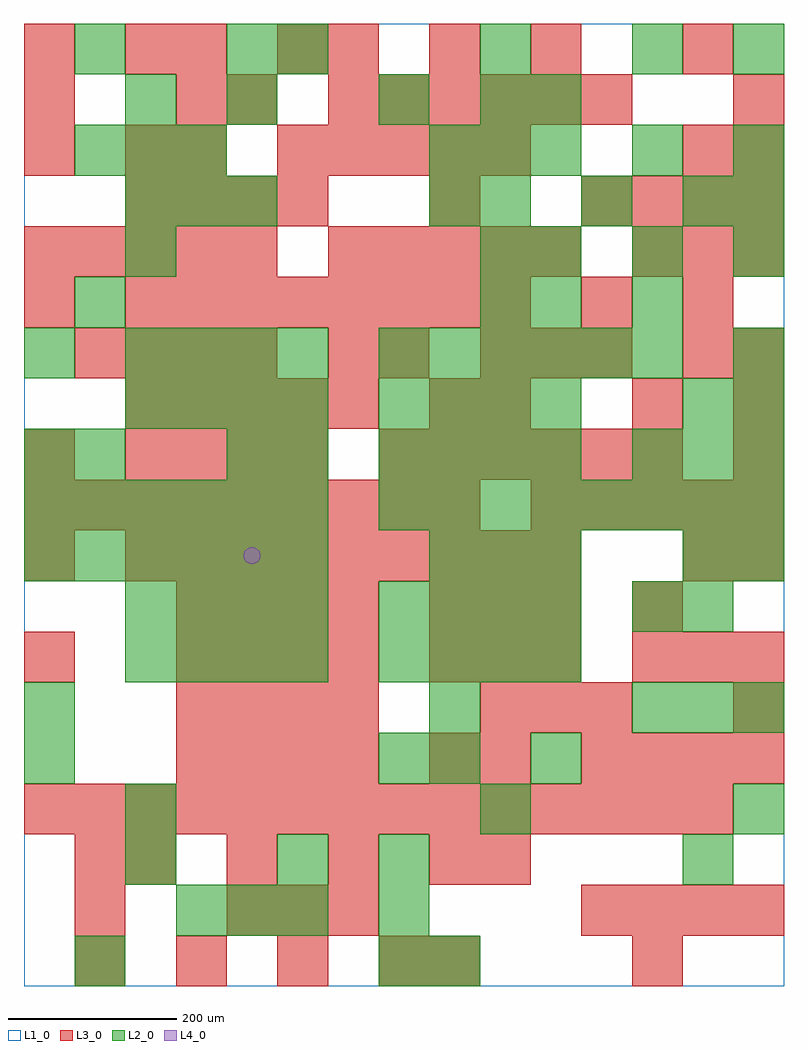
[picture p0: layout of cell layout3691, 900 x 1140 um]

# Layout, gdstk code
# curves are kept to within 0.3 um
import gdstk
lib = gdstk.Library(unit=1e-6, precision=1e-09)
def R(c, l, rs):  # rectangles x0, y0, x1, y1
    for r in rs: c.add(gdstk.rectangle(r[:2], r[2:], *l))
def A(c, l, x, y, w, h, nx, ny, dx, dy):  # array of equal rectangles
    R(c, l, [(x+i*dx, y+j*dy, x+i*dx+w, y+j*dy+h) for i in range(nx) for j in range(ny)])
def P(c, l, *ps):  # polygons
    for p in ps: c.add(gdstk.Polygon(p, *l))
L1_0 = (1, 0)
L2_0 = (2, 0)
L3_0 = (3, 0)
L4_0 = (4, 0)

layout3691 = lib.new_cell('layout3691')
R(layout3691, L1_0, [(0,0,900,1140)])
A(layout3691, L2_0, 420, 0, 60, 60, 1, 3, 0, 60)
A(layout3691, L2_0, 180, 60, 60, 60, 3, 1, 60, 0)
A(layout3691, L2_0, 300, 120, 60, 60, 1, 3, 0, 480)
A(layout3691, L2_0, 720, 300, 60, 60, 3, 2, 60, 300)
A(layout3691, L2_0, 120, 360, 60, 60, 4, 2, 60, 60)
A(layout3691, L2_0, 420, 360, 60, 60, 4, 2, 60, 60)
A(layout3691, L2_0, 0, 480, 60, 60, 6, 2, 60, 60)
A(layout3691, L2_0, 480, 480, 60, 60, 3, 2, 60, 480)
A(layout3691, L2_0, 420, 540, 60, 60, 8, 1, 60, 0)
A(layout3691, L2_0, 420, 600, 60, 60, 4, 2, 60, 60)
A(layout3691, L2_0, 120, 660, 60, 60, 4, 2, 60, 60)
A(layout3691, L2_0, 420, 720, 60, 60, 6, 1, 60, 0)
A(layout3691, L2_0, 600, 840, 60, 60, 3, 1, 120, 0)
A(layout3691, L2_0, 120, 900, 60, 60, 3, 1, 60, 0)
A(layout3691, L2_0, 540, 900, 60, 60, 3, 1, 120, 0)
A(layout3691, L2_0, 60, 960, 60, 60, 3, 1, 60, 0)
R(layout3691, L2_0, [(60,0,120,60), (480,0,540,60), (120,120,180,180), (780,120,840,180), (120,180,180,240), (540,180,600,240), (840,180,900,240), (0,240,60,300), (420,240,480,300), (480,240,540,300), (600,240,660,300), (0,300,60,360), (480,300,540,360), (720,420,780,480), (780,420,840,480), (780,480,840,540), (840,480,900,540), (0,600,60,660), (60,600,120,660), (240,600,300,660), (780,660,840,720), (840,660,900,720), (0,720,60,780), (840,720,900,780), (60,780,120,840), (540,780,600,840), (600,780,660,840), (720,780,780,840), (120,840,180,900), (540,840,600,900), (480,900,540,960), (840,900,900,960), (720,960,780,1020), (840,960,900,1020), (120,1020,180,1080), (240,1020,300,1080), (420,1020,480,1080), (540,1020,600,1080), (600,1020,660,1080), (60,1080,120,1140), (240,1080,300,1140), (540,1080,600,1140), (720,1080,780,1140), (840,1080,900,1140)])
A(layout3691, L3_0, 60, 0, 60, 60, 4, 1, 120, 0)
A(layout3691, L3_0, 240, 60, 60, 60, 3, 1, 60, 0)
A(layout3691, L3_0, 660, 60, 60, 60, 4, 2, 60, 180)
A(layout3691, L3_0, 120, 120, 60, 60, 4, 1, 120, 0)
A(layout3691, L3_0, 0, 180, 60, 60, 14, 1, 60, 0)
A(layout3691, L3_0, 180, 240, 60, 60, 4, 4, 60, 60)
A(layout3691, L3_0, 540, 300, 60, 60, 3, 2, 60, 420)
A(layout3691, L3_0, 0, 360, 60, 60, 1, 3, 0, 120)
A(layout3691, L3_0, 480, 360, 60, 60, 3, 2, 60, 60)
A(layout3691, L3_0, 720, 360, 60, 60, 3, 2, 60, 480)
A(layout3691, L3_0, 120, 480, 60, 60, 9, 1, 60, 0)
A(layout3691, L3_0, 0, 540, 60, 60, 9, 1, 60, 0)
A(layout3691, L3_0, 600, 540, 60, 60, 5, 1, 60, 0)
A(layout3691, L3_0, 120, 600, 60, 60, 4, 2, 60, 300)
A(layout3691, L3_0, 420, 600, 60, 60, 6, 1, 60, 0)
A(layout3691, L3_0, 840, 600, 60, 60, 1, 3, 0, 60)
A(layout3691, L3_0, 120, 660, 60, 60, 5, 1, 60, 0)
A(layout3691, L3_0, 60, 720, 60, 60, 4, 1, 60, 0)
A(layout3691, L3_0, 120, 780, 60, 60, 8, 1, 60, 0)
A(layout3691, L3_0, 0, 840, 60, 60, 5, 1, 60, 0)
A(layout3691, L3_0, 360, 840, 60, 60, 5, 1, 60, 0)
A(layout3691, L3_0, 660, 900, 60, 60, 4, 1, 60, 0)
A(layout3691, L3_0, 0, 960, 60, 60, 1, 3, 0, 60)
A(layout3691, L3_0, 180, 960, 60, 60, 1, 3, 0, 60)
A(layout3691, L3_0, 300, 960, 60, 60, 5, 1, 60, 0)
A(layout3691, L3_0, 360, 1020, 60, 60, 6, 1, 60, 0)
A(layout3691, L3_0, 360, 1080, 60, 60, 3, 1, 120, 0)
R(layout3691, L3_0, [(480,0,540,60), (720,0,780,60), (60,60,120,120), (60,120,120,180), (540,120,600,180), (480,240,540,300), (540,240,600,300), (840,300,900,360), (720,420,780,480), (780,480,840,540), (840,480,900,540), (480,660,540,720), (540,660,600,720), (720,660,780,720), (360,720,420,780), (420,720,480,780), (780,720,840,780), (0,780,60,840), (660,780,720,840), (780,780,840,840), (480,900,540,960), (120,960,180,1020), (780,960,840,1020), (840,960,900,1020), (240,1020,300,1080), (840,1020,900,1080), (120,1080,180,1140), (300,1080,360,1140), (780,1080,840,1140)])
P(layout3691, L4_0, [(280,510),(279.239,513.827),(277.071,517.071),(273.827,519.239),(270,520),(266.173,519.239),(262.929,517.071),(260.761,513.827),(260,510),(260.761,506.173),(262.929,502.929),(266.173,500.761),(270,500),(273.827,500.761),(277.071,502.929),(279.239,506.173)])

lib.write_gds('layout3691.gds')
